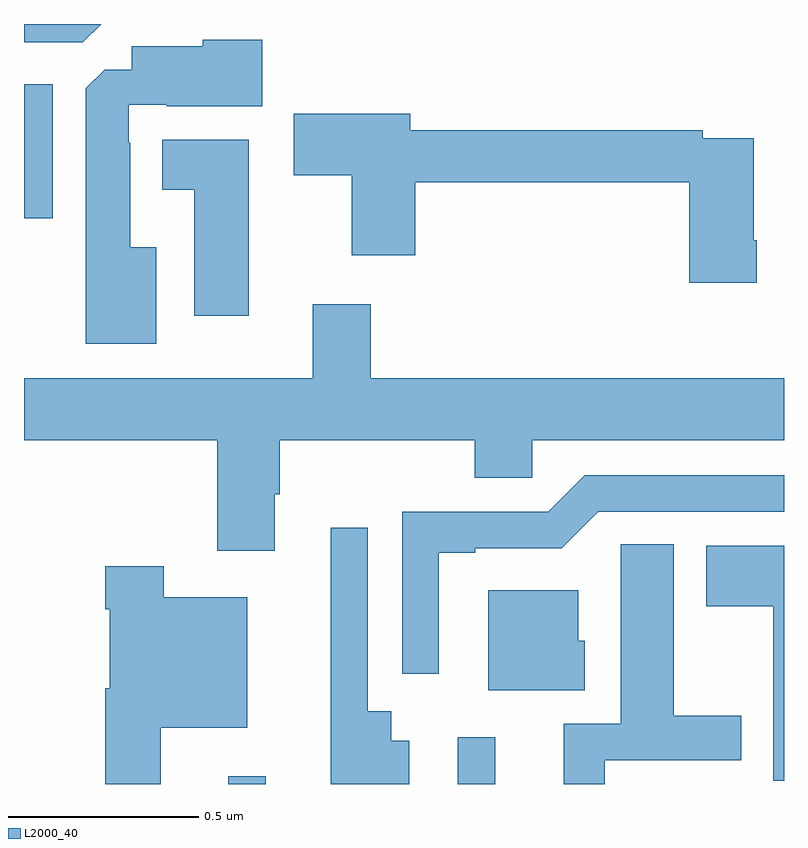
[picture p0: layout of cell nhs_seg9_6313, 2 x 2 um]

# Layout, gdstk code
import gdstk
lib = gdstk.Library(unit=1e-6, precision=1e-09)
def R(c, l, rs):  # rectangles x0, y0, x1, y1
    for r in rs: c.add(gdstk.rectangle(r[:2], r[2:], *l))
def P(c, l, *ps):  # polygons
    for p in ps: c.add(gdstk.Polygon(p, *l))
L2000_40 = (2000, 40)

nhs_seg9_6313 = lib.new_cell('nhs_seg9_6313')
R(nhs_seg9_6313, L2000_40, [(190.538,1211.5,190.636,1211.521), (191.142,1211.5,191.24,1211.623), (190,1212.989,190.075,1213.342)])
P(nhs_seg9_6313, L2000_40, [(190.203,1213.5),(190,1213.5),(190,1213.452),(190.155,1213.452)],
  [(190.348,1212.913),(190.279,1212.913),(190.279,1213.187),(190.275,1213.187),(190.275,1213.287),(190.375,1213.287),(190.375,1213.283),(190.627,1213.283),(190.627,1213.459),(190.47,1213.459),(190.47,1213.441),(190.283,1213.441),(190.283,1213.38),(190.212,1213.38),(190.163,1213.331),(190.163,1212.659),(190.348,1212.659)],
  [(191.928,1212.931),(191.92,1212.931),(191.92,1213.2),(191.786,1213.2),(191.786,1213.22),(191.017,1213.22),(191.017,1213.264),(190.71,1213.264),(190.71,1213.102),(190.862,1213.102),(190.862,1212.891),(191.03,1212.891),(191.03,1213.084),(191.75,1213.084),(191.75,1212.819),(191.928,1212.819)],
  [(190.591,1213.195),(190.364,1213.195),(190.364,1213.064),(190.448,1213.064),(190.448,1212.732),(190.591,1212.732)],
  [(190,1212.404),(190.508,1212.404),(190.508,1212.114),(190.66,1212.114),(190.66,1212.262),(190.673,1212.262),(190.673,1212.404),(191.186,1212.404),(191.186,1212.306),(191.337,1212.306),(191.337,1212.404),(192,1212.404),(192,1212.568),(190.913,1212.568),(190.913,1212.763),(190.76,1212.763),(190.76,1212.568),(190,1212.568)],
  [(191.092,1212.108),(191.188,1212.108),(191.188,1212.12),(191.415,1212.12),(191.511,1212.216),(192,1212.216),(192,1212.312),(191.475,1212.312),(191.379,1212.216),(190.995,1212.216),(190.995,1211.79),(191.092,1211.79)],
  [(191.014,1211.614),(190.966,1211.614),(190.966,1211.692),(190.905,1211.692),(190.905,1212.175),(190.807,1212.175),(190.807,1211.5),(191.014,1211.5)],
  [(191.528,1211.562),(191.887,1211.562),(191.887,1211.679),(191.71,1211.679),(191.71,1212.131),(191.571,1212.131),(191.571,1212.02),(191.57,1212.02),(191.57,1211.658),(191.42,1211.658),(191.42,1211.5),(191.528,1211.5)],
  [(192,1212.127),(191.795,1212.127),(191.795,1211.968),(191.972,1211.968),(191.972,1211.509),(192,1211.509)],
  [(190.36,1211.648),(190.588,1211.648),(190.588,1211.992),(190.368,1211.992),(190.368,1212.073),(190.214,1212.073),(190.214,1211.96),(190.226,1211.96),(190.226,1211.752),(190.214,1211.752),(190.214,1211.5),(190.36,1211.5)],
  [(191.476,1211.877),(191.458,1211.877),(191.458,1212.01),(191.222,1212.01),(191.222,1211.747),(191.476,1211.747)])

lib.write_gds('nhs_seg9_6313.gds')
